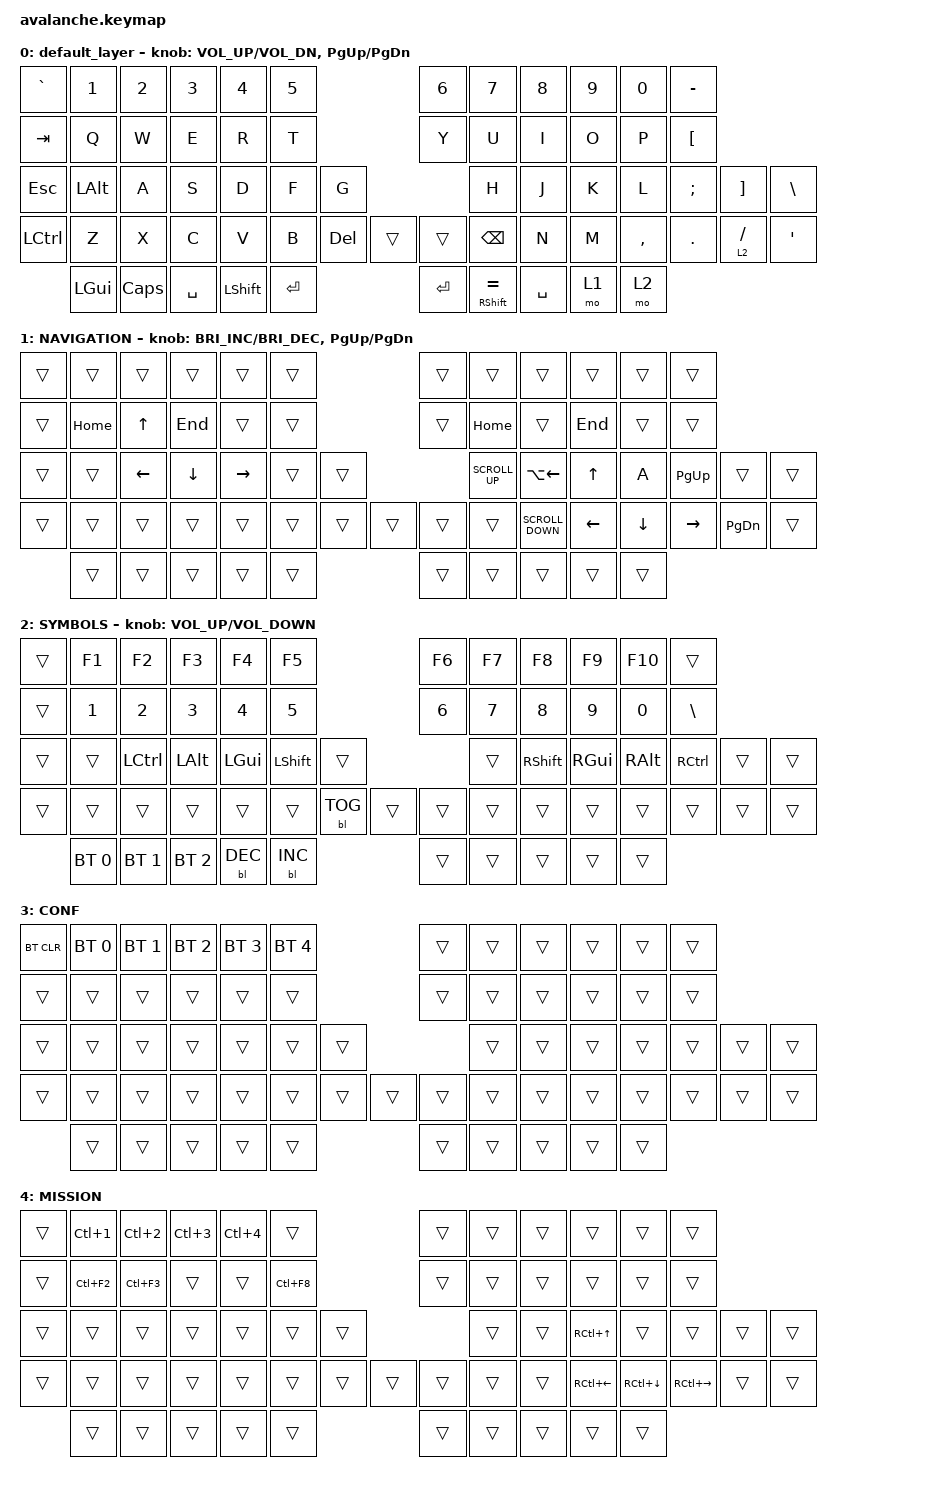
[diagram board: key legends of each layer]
#include <behaviors.dtsi>
#include <dt-bindings/zmk/keys.h>

/ {
    behaviors {
        bhm: balanced_homerow_mods {
            compatible = "zmk,behavior-hold-tap";
            label = "HOMEROW_MODS";
            #binding-cells = <2>;
            tapping-term-ms = <200>;    // <---[[moderate duration]]
            quick-tap-ms = <0>;
            flavor = "balanced";
            bindings = <&kp>, <&kp>;
        };
        hm: homerow_mods {
            compatible = "zmk,behavior-hold-tap";
            label = "HOMEROW_MODS";
            #binding-cells = <2>;
            tapping-term-ms = <250>;
            flavor = "tap-preferred";
            bindings = <&kp>, <&kp>;
        };
    };

    keymap {
        compatible = "zmk,keymap";

        /*
        &trans  &trans  &trans  &trans  &trans  &trans                                   &trans  &trans  &trans  &trans  &trans  &trans 
// ------------------------------------------------------------------------------------------------------------------------------------------------------------------------------------
        &trans  &trans  &trans  &trans  &trans  &trans                                   &trans  &trans  &trans  &trans  &trans  &trans 
// ------------------------------------------------------------------------------------------------------------------------------------------------------------------------------------
&trans  &trans  &trans  &trans  &trans  &trans  &trans                                   &trans  &trans  &trans  &trans  &trans  &trans  &trans 
// ------------------------------------------------------------------------------------------------------------------------------------------------------------------------------------
        &trans  &trans  &trans  &trans  &trans  &trans  &trans  &trans    &trans &trans  &trans  &trans  &trans  &trans  &trans  &trans 
// ------------------------------------------------------------------------------------------------------------------------------------------------------------------------------------
                                &trans  &trans  &trans  &trans  &trans    &trans &trans  &trans  &trans  &trans
*/

        default_layer {
            bindings = <
&kp GRAVE         &kp N1        &kp N2    &kp N3     &kp N4          &kp N5                         &kp N6     &kp N7                 &kp N8     &kp N9  &kp N0     &kp MINUS
&kp TAB           &kp Q         &kp W     &kp E      &kp R           &kp T                          &kp Y      &kp U                  &kp I      &kp O   &kp P      &kp LEFT_BRACKET
&kp ESC           &kp LEFT_ALT  &kp A     &kp S      &kp D           &kp F      &kp G                          &kp H                  &kp J      &kp K   &kp L      &kp SEMICOLON     &kp RIGHT_BRACKET  &kp BACKSLASH
&kp LEFT_CONTROL  &kp Z         &kp X     &kp C      &kp V           &kp B      &kp DELETE  &trans  &trans     &kp BACKSPACE          &kp N      &kp M   &kp COMMA  &kp PERIOD        &lt 2 SLASH        &kp SQT
                  &kp LGUI      &kp CAPS  &kp SPACE  &kp LEFT_SHIFT  &kp ENTER                      &kp ENTER  &hm RIGHT_SHIFT EQUAL  &kp SPACE  &mo 1   &mo 2
            >;

            sensor-bindings = <&inc_dec_kp C_VOL_UP C_VOL_DN &inc_dec_kp PG_UP PG_DN>;
        };

        NAVIGATION {
            bindings = <
&trans  &trans    &trans    &trans    &trans     &trans                  &trans  &trans           &trans             &trans        &trans    &trans
&trans  &kp HOME  &kp UP    &kp END   &trans     &trans                  &trans  &kp HOME         &trans             &kp END       &trans    &trans
&trans  &trans    &kp LEFT  &kp DOWN  &kp RIGHT  &trans  &trans                  &kp K_SCROLL_UP  &kp LA(LEFT)       &kp UP_ARROW  &kp A     &kp PAGE_UP  &trans         &trans
&trans  &trans    &trans    &trans    &trans     &trans  &trans  &trans  &trans  &trans           &kp K_SCROLL_DOWN  &kp LEFT      &kp DOWN  &kp RIGHT    &kp PAGE_DOWN  &trans
        &trans    &trans    &trans    &trans     &trans                  &trans  &trans           &trans             &trans        &trans
            >;

            sensor-bindings =
                <&inc_dec_kp C_BRIGHTNESS_INC C_BRIGHTNESS_DEC>,
                <&inc_dec_kp PAGE_UP PAGE_DOWN>;
        };

        SYMBOLS {
            bindings = <
&trans  &kp F1        &kp F2        &kp F3        &kp F4      &kp F5                          &kp F6  &kp F7  &kp F8      &kp F9    &kp F10   &trans
&trans  &kp N1        &kp N2        &kp N3        &kp N4      &kp N5                          &kp N6  &kp N7  &kp N8      &kp N9    &kp N0    &kp BACKSLASH
&trans  &trans        &kp LCTRL     &kp LALT      &kp LGUI    &kp LSHIFT  &trans                      &trans  &kp RSHIFT  &kp RGUI  &kp RALT  &kp RCTRL      &trans  &trans
&trans  &trans        &trans        &trans        &trans      &trans      &bl BL_TOG  &trans  &trans  &trans  &trans      &trans    &trans    &trans         &trans  &trans
        &bt BT_SEL 0  &bt BT_SEL 1  &bt BT_SEL 2  &bl BL_DEC  &bl BL_INC                      &trans  &trans  &trans      &trans    &trans
            >;

            sensor-bindings = <&inc_dec_kp C_VOLUME_UP K_VOLUME_DOWN>;
        };

        CONF {
            bindings = <
&bt BT_CLR  &bt BT_SEL 0  &bt BT_SEL 1  &bt BT_SEL 2  &bt BT_SEL 3  &bt BT_SEL 4                  &trans  &trans  &trans  &trans  &trans  &trans
&trans      &trans        &trans        &trans        &trans        &trans                        &trans  &trans  &trans  &trans  &trans  &trans
&trans      &trans        &trans        &trans        &trans        &trans        &trans                  &trans  &trans  &trans  &trans  &trans  &trans  &trans
&trans      &trans        &trans        &trans        &trans        &trans        &trans  &trans  &trans  &trans  &trans  &trans  &trans  &trans  &trans  &trans
            &trans        &trans        &trans        &trans        &trans                        &trans  &trans  &trans  &trans  &trans
            >;
        };

        MISSION {
            bindings = <
&trans  &kp LC(N1)  &kp LC(N2)  &kp LC(NUMBER_3)  &kp LC(N4)  &trans                      &trans  &trans  &trans  &trans        &trans        &trans
&trans  &kp LC(F2)  &kp LC(F3)  &trans            &trans      &kp LC(F8)                  &trans  &trans  &trans  &trans        &trans        &trans
&trans  &trans      &trans      &trans            &trans      &trans      &trans                  &trans  &trans  &kp RC(UP)    &trans        &trans         &trans  &trans
&trans  &trans      &trans      &trans            &trans      &trans      &trans  &trans  &trans  &trans  &trans  &kp RC(LEFT)  &kp RC(DOWN)  &kp RC(RIGHT)  &trans  &trans
        &trans      &trans      &trans            &trans      &trans                      &trans  &trans  &trans  &trans        &trans
            >;
        };
    };
};

